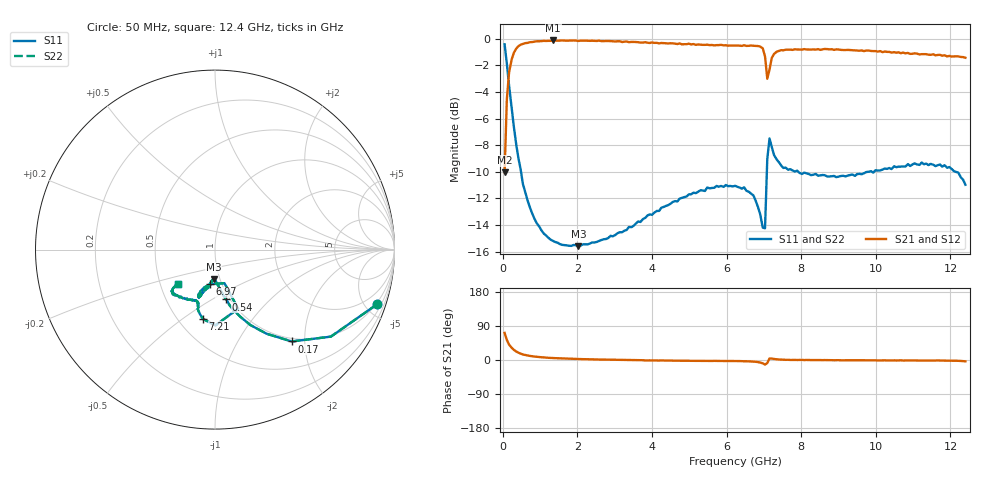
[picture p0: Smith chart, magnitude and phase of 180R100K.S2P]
!  American Technical Ceramics  Date:  3/13/98
!  One Norden Lane
!  Huntington Station,  NY.  11746-2102
!  Tel:  (516) 547-5700  Fax:  (516) 547-5748
!  Part Number  180r100k
!  Description: Porcelain, High Q, Low ESR
!  Application: Bypass, Coupling, Timing, Feedback
!  Tuning, Impedance Match, Blocking
# GHZ S DB R 50
! Freq  |S11|  S11 Ph  |S21|  S21 Ph  |S12|  S12 Ph  |S22|  S22 Ph
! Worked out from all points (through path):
!   201 points, 50 MHz to 12.4 GHz, reference 50 ohm
!   highest |S21| = -0.12 dB at 1.35 GHz (marker M1); lowest = -10.0 dB at 50 MHz (marker M2)
!   group delay of S21, straight-line fit = 3.13 ps
!   lowest |S11| = -15.6 dB at 2.03 GHz (marker M3), VSWR 1.40, Z = 46.6 - j15.9 ohm
!   |S11| at or under -10 dB: 489.9 MHz to 7.079 GHz (6.589 GHz wide, 174 % of centre); 7.924 GHz to 9.787 GHz (1.863 GHz wide, 21 % of centre); 12.14 GHz to end of sweep (the widest 3 of 4)
!   |S22| runs from -15.6 to -0.4 dB; largest |S21 - S12| = 0
!   S11 on the Smith chart (normalised r, x): 50 MHz: 0.89, -5.98; 170 MHz: 0.94, -1.74; 540 MHz: 0.96, -0.58; 6.97 GHz: 0.88, -0.35; 7.21 GHz: 0.66, -0.60; 12.4 GHz: 0.62, -0.26
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0.05  -0.41 -18.6  -10.03 71.5  -10.03 71.5  -0.41 -18.6
0.11  -1.86 -36.9  -4.54 53.0  -4.54 53.0  -1.86 -36.9
0.17  -3.52 -50.1  -2.51 40.5  -2.51 40.5  -3.52 -50.1
0.3  -6.66 -64.8  -1.04 26.6  -1.04 26.6  -6.66 -64.8
0.54  -10.91 -77.3  -0.38 14.5  -0.38 14.5  -10.91 -77.3
0.91  -13.86 -84.7  -0.18 8.4  -0.18 8.4  -13.86 -84.7
1.35  -15.20 -89.2  -0.12 5.1  -0.12 5.1  -15.20 -89.2
2.03  -15.59 -92.9  -0.16 2.6  -0.16 2.6  -15.59 -92.9
2.15  -15.45 -93.1  -0.14 2.2  -0.14 2.2  -15.45 -93.1
4.19  -12.94 -103.2  -0.34 -1.4  -0.34 -1.4  -12.94 -103.2
6.23  -11.05 -109.0  -0.50 -2.8  -0.50 -2.8  -11.05 -109.0
6.72  -11.78 -109.5  -0.52 -4.3  -0.52 -4.3  -11.78 -109.5
6.97  -14.20 -97.8  -0.72 -8.8  -0.72 -8.8  -14.20 -97.8
7.03  -14.24 -74.3  -1.33 -12.0  -1.33 -12.0  -14.24 -74.3
7.09  -9.03 -68.7  -3.00 -8.1  -3.00 -8.1  -9.03 -68.7
7.15  -7.49 -89.7  -2.31 4.0  -2.31 4.0  -7.49 -89.7
7.21  -8.13 -99.8  -1.44 3.9  -1.44 3.9  -8.13 -99.8
7.52  -9.71 -107.0  -0.86 0.8  -0.86 0.8  -9.71 -107.0
8.32  -10.22 -107.9  -0.79 -0.1  -0.79 -0.1  -10.22 -107.9
10.36  -9.71 -125.6  -0.98 -1.2  -0.98 -1.2  -9.71 -125.6
11.84  -9.50 -136.3  -1.23 -1.6  -1.23 -1.6  -9.50 -136.3
12.4  -10.97 -136.8  -1.42 -3.5  -1.42 -3.5  -10.97 -136.8
